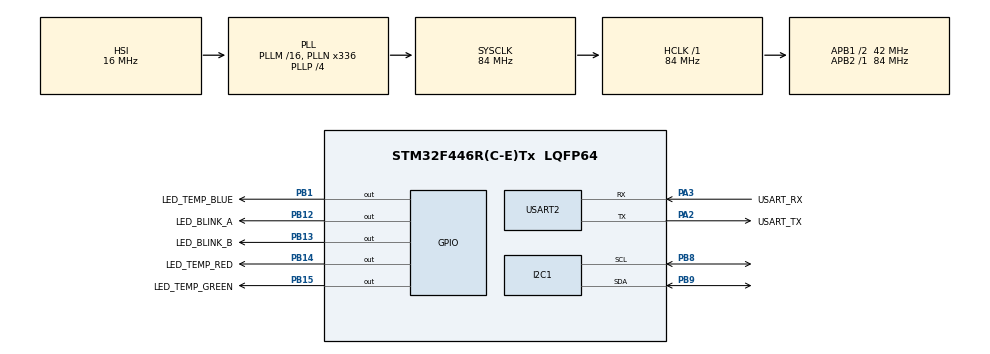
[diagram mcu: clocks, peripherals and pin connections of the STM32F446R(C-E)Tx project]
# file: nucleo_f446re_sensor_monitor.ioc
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ADC1.Channel-0\#ChannelRegularConversion=ADC_CHANNEL_TEMPSENSOR
ADC1.DMAContinuousRequests=ENABLE
ADC1.ExternalTrigConv=ADC_EXTERNALTRIGCONV_T2_TRGO
ADC1.NbrOfConversionFlag=1
ADC1.Rank-0\#ChannelRegularConversion=1
ADC1.SamplingTime-0\#ChannelRegularConversion=ADC_SAMPLETIME_480CYCLES
ADC1.master=1
Dma.ADC1.2.Direction=DMA_PERIPH_TO_MEMORY
Dma.ADC1.2.FIFOMode=DMA_FIFOMODE_DISABLE
Dma.ADC1.2.Instance=DMA2_Stream0
Dma.ADC1.2.MemDataAlignment=DMA_MDATAALIGN_HALFWORD
Dma.ADC1.2.MemInc=DMA_MINC_ENABLE
Dma.ADC1.2.Mode=DMA_CIRCULAR
Dma.ADC1.2.PeriphDataAlignment=DMA_PDATAALIGN_HALFWORD
Dma.ADC1.2.PeriphInc=DMA_PINC_DISABLE
Dma.ADC1.2.Priority=DMA_PRIORITY_LOW
Dma.Request0=USART2_RX
Dma.Request1=USART2_TX
Dma.Request2=ADC1
Dma.USART2_RX.0.Direction=DMA_PERIPH_TO_MEMORY
Dma.USART2_RX.0.FIFOMode=DMA_FIFOMODE_DISABLE
Dma.USART2_RX.0.Instance=DMA1_Stream5
Dma.USART2_RX.0.MemDataAlignment=DMA_MDATAALIGN_BYTE
Dma.USART2_RX.0.MemInc=DMA_MINC_ENABLE
Dma.USART2_RX.0.Mode=DMA_CIRCULAR
Dma.USART2_RX.0.PeriphDataAlignment=DMA_PDATAALIGN_BYTE
Dma.USART2_RX.0.PeriphInc=DMA_PINC_DISABLE
Dma.USART2_RX.0.Priority=DMA_PRIORITY_LOW
Dma.USART2_TX.1.Direction=DMA_MEMORY_TO_PERIPH
Dma.USART2_TX.1.FIFOMode=DMA_FIFOMODE_DISABLE
Dma.USART2_TX.1.Instance=DMA1_Stream6
Dma.USART2_TX.1.MemDataAlignment=DMA_MDATAALIGN_BYTE
Dma.USART2_TX.1.MemInc=DMA_MINC_ENABLE
Dma.USART2_TX.1.Mode=DMA_NORMAL
Dma.USART2_TX.1.PeriphDataAlignment=DMA_PDATAALIGN_BYTE
Dma.USART2_TX.1.PeriphInc=DMA_PINC_DISABLE
Dma.USART2_TX.1.Priority=DMA_PRIORITY_LOW
FREERTOS.Mutexes01=sensorMutex,Dynamic,NULL,Available;mcp9808Mutex,Dynamic,NULL,Available
FREERTOS.Queues01=uartRxQueue,128,uint8_t,0,Dynamic,NULL,NULL
FREERTOS.Tasks01=defaultTask,24,512,StartDefaultTask,Default,NULL,Dynamic,NULL,NULL;blinkTask,24,256,StartBlinkTask,Default,NULL,Dynamic,NULL,NULL;sensorTask,24,256,StartSensorTask,Default,NULL,Dynamic,NULL,NULL;mcp9808Task,24,256,StartMcp9808Task,Default,NULL,Dynamic,NULL,NULL;watchdogTask,32,256,StartWatchdogTask,Default,NULL,Dynamic,NULL,NULL
FREERTOS.configCHECK_FOR_STACK_OVERFLOW=2
FREERTOS.configUSE_NEWLIB_REENTRANT=1
IWDG.Prescaler=IWDG_PRESCALER_64
IWDG.Reload=2499
Mcu.Family=STM32F4
Mcu.Name=STM32F446R(C-E)Tx
Mcu.Package=LQFP64
NVIC.DMA1_Stream5_IRQn=true\:5\:0\:false\:false\:true\:true\:false\:true\:true
NVIC.DMA1_Stream6_IRQn=true\:5\:0\:false\:false\:true\:true\:false\:true\:true
NVIC.DMA2_Stream0_IRQn=true\:5\:0\:false\:false\:true\:true\:false\:true\:true
NVIC.PriorityGroup=NVIC_PRIORITYGROUP_4
NVIC.TIM6_DAC_IRQn=true\:15\:0\:false\:false\:true\:false\:false\:true\:true
NVIC.TimeBase=TIM6_DAC_IRQn
NVIC.TimeBaseIP=TIM6
NVIC.USART2_IRQn=true\:5\:0\:false\:false\:true\:true\:true\:true\:true
PA13.GPIO_Label=TMS
PA13.Mode=Serial_Wire
PA13.Signal=SYS_JTMS-SWDIO
PA14.GPIO_Label=TCK
PA14.Mode=Serial_Wire
PA14.Signal=SYS_JTCK-SWCLK
PA2.GPIO_Label=USART_TX
PA2.Mode=Asynchronous
PA2.Signal=USART2_TX
PA3.GPIO_Label=USART_RX
PA3.Mode=Asynchronous
PA3.Signal=USART2_RX
PB1.GPIO_Label=LED_TEMP_BLUE
PB1.Signal=GPIO_Output
PB12.GPIO_Label=LED_BLINK_A
PB12.Signal=GPIO_Output
PB13.GPIO_Label=LED_BLINK_B
PB13.Signal=GPIO_Output
PB14.GPIO_Label=LED_TEMP_RED
PB14.Signal=GPIO_Output
PB15.GPIO_Label=LED_TEMP_GREEN
PB15.Signal=GPIO_Output
PB3.GPIO_Label=SWO
PB3.Signal=SYS_JTDO-SWO
PB8.Mode=I2C
PB8.Signal=I2C1_SCL
PB9.Mode=I2C
PB9.Signal=I2C1_SDA
PC14-OSC32_IN.Signal=RCC_OSC32_IN
PC15-OSC32_OUT.Signal=RCC_OSC32_OUT
PH0-OSC_IN.Signal=RCC_OSC_IN
PH1-OSC_OUT.Signal=RCC_OSC_OUT
ProjectManager.HeapSize=0x200
ProjectManager.StackSize=0x400
ProjectManager.TargetToolchain=STM32CubeIDE
RCC.AHBFreq_Value=84000000
RCC.APB1CLKDivider=RCC_HCLK_DIV2
RCC.APB1Freq_Value=42000000
RCC.APB1TimFreq_Value=84000000
RCC.APB2Freq_Value=84000000
RCC.APB2TimFreq_Value=84000000
RCC.CortexFreq_Value=84000000
RCC.FLatency-AdvancedSettings=FLASH_LATENCY_2
RCC.HCLKFreq_Value=84000000
RCC.HSE_VALUE=8000000
RCC.HSI_VALUE=16000000
RCC.LSE_VALUE=32768
RCC.PLLN=336
RCC.PLLP=RCC_PLLP_DIV4
RCC.SYSCLKFreq_VALUE=84000000
RCC.SYSCLKSource=RCC_SYSCLKSOURCE_PLLCLK
RCC.USBFreq_Value=168000000
RCC.VCOOutputFreq_Value=336000000
TIM2.Period=999
TIM2.Prescaler=8399
TIM2.TIM_MasterOutputTrigger=TIM_TRGO_UPDATE
USART2.VirtualMode=VM_ASYNC
VP_ADC1_TempSens_Input.Mode=IN-TempSens
VP_FREERTOS_VS_CMSIS_V2.Mode=CMSIS_V2
VP_IWDG_VS_IWDG.Mode=IWDG_Activate
VP_SYS_VS_tim6.Mode=TIM6
VP_TIM2_VS_ClockSourceINT.Mode=Internal
board=NUCLEO-F446RE

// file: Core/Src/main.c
/* USER CODE BEGIN Header */
/**
  ******************************************************************************
  * @file           : main.c
  * @brief          : Main program body
  ******************************************************************************
  * @attention
  *
  * Copyright (c) 2026 STMicroelectronics.
  * All rights reserved.
  *
  * This software is licensed under terms that can be found in the LICENSE file
  * in the root directory of this software component.
  * If no LICENSE file comes with this software, it is provided AS-IS.
  *
  ******************************************************************************
  */
/* USER CODE END Header */
#include "main.h"
#include "cmsis_os.h"
#include <stdio.h>

/* USER CODE BEGIN Includes */

#include "app_uart.h"
#include "app_cmd.h"
#include "app_led.h"
#include "app_sensor.h"
#include "app_config.h"
#include "app_mcp9808.h"
#include "app_reset.h"
#include "app_watchdog.h"

/* USER CODE END Includes */

/* USER CODE BEGIN PD */

#define UART_READ_WAIT_MS 1000u

/* USER CODE END PD */

ADC_HandleTypeDef hadc1;
DMA_HandleTypeDef hdma_adc1;

I2C_HandleTypeDef hi2c1;

IWDG_HandleTypeDef hiwdg;

TIM_HandleTypeDef htim2;

UART_HandleTypeDef huart2;
DMA_HandleTypeDef hdma_usart2_rx;
DMA_HandleTypeDef hdma_usart2_tx;

/* Definitions for defaultTask */
osThreadId_t defaultTaskHandle;
const osThreadAttr_t defaultTask_attributes = {
  .name = "defaultTask",
  .stack_size = 512 * 4,
  .priority = (osPriority_t) osPriorityNormal,
};
/* Definitions for blinkTask */
osThreadId_t blinkTaskHandle;
const osThreadAttr_t blinkTask_attributes = {
  .name = "blinkTask",
  .stack_size = 256 * 4,
  .priority = (osPriority_t) osPriorityNormal,
};
/* Definitions for sensorTask */
osThreadId_t sensorTaskHandle;
const osThreadAttr_t sensorTask_attributes = {
  .name = "sensorTask",
  .stack_size = 256 * 4,
  .priority = (osPriority_t) osPriorityNormal,
};
/* Definitions for mcp9808Task */
osThreadId_t mcp9808TaskHandle;
const osThreadAttr_t mcp9808Task_attributes = {
  .name = "mcp9808Task",
  .stack_size = 256 * 4,
  .priority = (osPriority_t) osPriorityNormal,
};
/* Definitions for watchdogTask */
osThreadId_t watchdogTaskHandle;
const osThreadAttr_t watchdogTask_attributes = {
  .name = "watchdogTask",
  .stack_size = 256 * 4,
  .priority = (osPriority_t) osPriorityAboveNormal,
};
/* Definitions for uartRxQueue */
osMessageQueueId_t uartRxQueueHandle;
const osMessageQueueAttr_t uartRxQueue_attributes = {
  .name = "uartRxQueue"
};
/* Definitions for sensorMutex */
osMutexId_t sensorMutexHandle;
const osMutexAttr_t sensorMutex_attributes = {
  .name = "sensorMutex"
};
/* Definitions for mcp9808Mutex */
osMutexId_t mcp9808MutexHandle;
const osMutexAttr_t mcp9808Mutex_attributes = {
  .name = "mcp9808Mutex"
};

void SystemClock_Config(void);
static void MX_GPIO_Init(void);
static void MX_DMA_Init(void);
static void MX_USART2_UART_Init(void);
static void MX_ADC1_Init(void);
static void MX_TIM2_Init(void);
static void MX_I2C1_Init(void);
static void MX_IWDG_Init(void);
void StartDefaultTask(void *argument);
void StartBlinkTask(void *argument);
void StartSensorTask(void *argument);
void StartMcp9808Task(void *argument);
void StartWatchdogTask(void *argument);

/* USER CODE BEGIN PFP */

#if APP_TEMP_LED_SELFTEST
static void app_temp_led_selftest(void);
#endif

/* USER CODE END PFP */

int main(void)
{

  /* MCU Configuration--------------------------------------------------------*/

  /* Reset of all peripherals, Initializes the Flash interface and the Systick. */
  HAL_Init();

  /* Configure the system clock */
  SystemClock_Config();

  /* USER CODE BEGIN SysInit */

  __HAL_DBGMCU_FREEZE_IWDG();

  /* USER CODE END SysInit */

  /* Initialize all configured peripherals */
  MX_GPIO_Init();
  MX_DMA_Init();
  MX_USART2_UART_Init();
  MX_ADC1_Init();
  MX_TIM2_Init();
  MX_I2C1_Init();
  MX_IWDG_Init();
  /* USER CODE BEGIN 2 */

  app_uart_init(&huart2);
  app_reset_capture();
  app_watchdog_init(&hiwdg);

  char msg[32];
  (void)snprintf(msg, sizeof(msg), "\r\nReset= %s", app_reset_cause_to_string(app_reset_get_cause()));

  app_uart_send_text(msg);
  app_uart_send_text("\r\nUART Command Ready\r\n");
  #if APP_TEMP_LED_SELFTEST
  app_temp_led_selftest();
  #endif

  /* USER CODE END 2 */

  /* Init scheduler */
  osKernelInitialize();
  /* Create the mutex(es) */
  /* creation of sensorMutex */
  sensorMutexHandle = osMutexNew(&sensorMutex_attributes);

  /* creation of mcp9808Mutex */
  mcp9808MutexHandle = osMutexNew(&mcp9808Mutex_attributes);

  /* USER CODE BEGIN RTOS_MUTEX */
  /* add mutexes, ... */

  app_sensor_init(&hadc1, &htim2);
  app_mcp9808_init(&hi2c1);

  /* USER CODE END RTOS_MUTEX */

  /* Create the queue(s) */
  /* creation of uartRxQueue */
  uartRxQueueHandle = osMessageQueueNew (128, sizeof(uint8_t), &uartRxQueue_attributes);

  /* USER CODE BEGIN RTOS_QUEUES */
  /* add queues, ... */
  app_led_init();

  /* USER CODE END RTOS_QUEUES */

  /* Create the thread(s) */
  /* creation of defaultTask */
  defaultTaskHandle = osThreadNew(StartDefaultTask, NULL, &defaultTask_attributes);

  /* creation of blinkTask */
  blinkTaskHandle = osThreadNew(StartBlinkTask, NULL, &blinkTask_attributes);

  /* creation of sensorTask */
  sensorTaskHandle = osThreadNew(StartSensorTask, NULL, &sensorTask_attributes);

  /* creation of mcp9808Task */
  mcp9808TaskHandle = osThreadNew(StartMcp9808Task, NULL, &mcp9808Task_attributes);

  /* creation of watchdogTask */
  watchdogTaskHandle = osThreadNew(StartWatchdogTask, NULL, &watchdogTask_attributes);

  /* USER CODE BEGIN RTOS_EVENTS */
  /* add events, ... */

  app_config_values_t values = {0};
  app_config_values_t defaults;

  app_config_get_defaults(&defaults);

  if (app_config_read(&values)) {
	  app_uart_send_text("CONFIG: Load From Flash.\r\n> ");
  }
  else {
	  values = defaults;
	  app_uart_send_text("CONFIG: Using Defaults.\r\n> ");
  }

  if (!app_sensor_set_period(values.sample_ms)) {
	  app_uart_send_text("CONFIG: sample invalid, using default.\r\n> ");
	  app_sensor_set_period(defaults.sample_ms);
  }

  if (!app_led_request((app_led_mode_t)values.led_mode, values.blink_ms)) {
	  app_uart_send_text("CONFIG: LED invalid, using default.\r\n> ");
	  app_led_request((app_led_mode_t)defaults.led_mode, defaults.blink_ms);
  }

  /* USER CODE END RTOS_EVENTS */

  /* Start scheduler */
  osKernelStart();

  /* We should never get here as control is now taken by the scheduler */

  /* Infinite loop */
  while (1)
  {

  }
}

void SystemClock_Config(void)
{
  RCC_OscInitTypeDef RCC_OscInitStruct = {0};
  RCC_ClkInitTypeDef RCC_ClkInitStruct = {0};

  /** Configure the main internal regulator output voltage
  */
  __HAL_RCC_PWR_CLK_ENABLE();
  __HAL_PWR_VOLTAGESCALING_CONFIG(PWR_REGULATOR_VOLTAGE_SCALE3);

  /** Initializes the RCC Oscillators according to the specified parameters
  * in the RCC_OscInitTypeDef structure.
  */
  RCC_OscInitStruct.OscillatorType = RCC_OSCILLATORTYPE_HSI|RCC_OSCILLATORTYPE_LSI;
  RCC_OscInitStruct.HSIState = RCC_HSI_ON;
  RCC_OscInitStruct.HSICalibrationValue = RCC_HSICALIBRATION_DEFAULT;
  RCC_OscInitStruct.LSIState = RCC_LSI_ON;
  RCC_OscInitStruct.PLL.PLLState = RCC_PLL_ON;
  RCC_OscInitStruct.PLL.PLLSource = RCC_PLLSOURCE_HSI;
  RCC_OscInitStruct.PLL.PLLM = 16;
  RCC_OscInitStruct.PLL.PLLN = 336;
  RCC_OscInitStruct.PLL.PLLP = RCC_PLLP_DIV4;
  RCC_OscInitStruct.PLL.PLLQ = 2;
  RCC_OscInitStruct.PLL.PLLR = 2;
  if (HAL_RCC_OscConfig(&RCC_OscInitStruct) != HAL_OK)
  {
    Error_Handler();
  }

  /** Initializes the CPU, AHB and APB buses clocks
  */
  RCC_ClkInitStruct.ClockType = RCC_CLOCKTYPE_HCLK|RCC_CLOCKTYPE_SYSCLK
                              |RCC_CLOCKTYPE_PCLK1|RCC_CLOCKTYPE_PCLK2;
  RCC_ClkInitStruct.SYSCLKSource = RCC_SYSCLKSOURCE_PLLCLK;
  RCC_ClkInitStruct.AHBCLKDivider = RCC_SYSCLK_DIV1;
  RCC_ClkInitStruct.APB1CLKDivider = RCC_HCLK_DIV2;
  RCC_ClkInitStruct.APB2CLKDivider = RCC_HCLK_DIV1;

  if (HAL_RCC_ClockConfig(&RCC_ClkInitStruct, FLASH_LATENCY_2) != HAL_OK)
  {
    Error_Handler();
  }
}

static void MX_ADC1_Init(void)
{

  ADC_ChannelConfTypeDef sConfig = {0};

  /** Configure the global features of the ADC (Clock, Resolution, Data Alignment and number of conversion)
  */
  hadc1.Instance = ADC1;
  hadc1.Init.ClockPrescaler = ADC_CLOCK_SYNC_PCLK_DIV4;
  hadc1.Init.Resolution = ADC_RESOLUTION_12B;
  hadc1.Init.ScanConvMode = DISABLE;
  hadc1.Init.ContinuousConvMode = DISABLE;
  hadc1.Init.DiscontinuousConvMode = DISABLE;
  hadc1.Init.ExternalTrigConvEdge = ADC_EXTERNALTRIGCONVEDGE_RISING;
  hadc1.Init.ExternalTrigConv = ADC_EXTERNALTRIGCONV_T2_TRGO;
  hadc1.Init.DataAlign = ADC_DATAALIGN_RIGHT;
  hadc1.Init.NbrOfConversion = 1;
  hadc1.Init.DMAContinuousRequests = ENABLE;
  hadc1.Init.EOCSelection = ADC_EOC_SINGLE_CONV;
  if (HAL_ADC_Init(&hadc1) != HAL_OK)
  {
    Error_Handler();
  }

  /** Configure for the selected ADC regular channel its corresponding rank in the sequencer and its sample time.
  */
  sConfig.Channel = ADC_CHANNEL_TEMPSENSOR;
  sConfig.Rank = 1;
  sConfig.SamplingTime = ADC_SAMPLETIME_480CYCLES;
  if (HAL_ADC_ConfigChannel(&hadc1, &sConfig) != HAL_OK)
  {
    Error_Handler();
  }

}

static void MX_I2C1_Init(void)
{

  hi2c1.Instance = I2C1;
  hi2c1.Init.ClockSpeed = 100000;
  hi2c1.Init.DutyCycle = I2C_DUTYCYCLE_2;
  hi2c1.Init.OwnAddress1 = 0;
  hi2c1.Init.AddressingMode = I2C_ADDRESSINGMODE_7BIT;
  hi2c1.Init.DualAddressMode = I2C_DUALADDRESS_DISABLE;
  hi2c1.Init.OwnAddress2 = 0;
  hi2c1.Init.GeneralCallMode = I2C_GENERALCALL_DISABLE;
  hi2c1.Init.NoStretchMode = I2C_NOSTRETCH_DISABLE;
  if (HAL_I2C_Init(&hi2c1) != HAL_OK)
  {
    Error_Handler();
  }

}

static void MX_IWDG_Init(void)
{

  hiwdg.Instance = IWDG;
  hiwdg.Init.Prescaler = IWDG_PRESCALER_64;
  hiwdg.Init.Reload = 2499;
  if (HAL_IWDG_Init(&hiwdg) != HAL_OK)
  {
    Error_Handler();
  }

}

static void MX_TIM2_Init(void)
{

  TIM_ClockConfigTypeDef sClockSourceConfig = {0};
  TIM_MasterConfigTypeDef sMasterConfig = {0};

  htim2.Instance = TIM2;
  htim2.Init.Prescaler = 8399;
  htim2.Init.CounterMode = TIM_COUNTERMODE_UP;
  htim2.Init.Period = 999;
  htim2.Init.ClockDivision = TIM_CLOCKDIVISION_DIV1;
  htim2.Init.AutoReloadPreload = TIM_AUTORELOAD_PRELOAD_DISABLE;
  if (HAL_TIM_Base_Init(&htim2) != HAL_OK)
  {
    Error_Handler();
  }
  sClockSourceConfig.ClockSource = TIM_CLOCKSOURCE_INTERNAL;
  if (HAL_TIM_ConfigClockSource(&htim2, &sClockSourceConfig) != HAL_OK)
  {
    Error_Handler();
  }
  sMasterConfig.MasterOutputTrigger = TIM_TRGO_UPDATE;
  sMasterConfig.MasterSlaveMode = TIM_MASTERSLAVEMODE_DISABLE;
  if (HAL_TIMEx_MasterConfigSynchronization(&htim2, &sMasterConfig) != HAL_OK)
  {
    Error_Handler();
  }

}

static void MX_USART2_UART_Init(void)
{

  huart2.Instance = USART2;
  huart2.Init.BaudRate = 115200;
  huart2.Init.WordLength = UART_WORDLENGTH_8B;
  huart2.Init.StopBits = UART_STOPBITS_1;
  huart2.Init.Parity = UART_PARITY_NONE;
  huart2.Init.Mode = UART_MODE_TX_RX;
  huart2.Init.HwFlowCtl = UART_HWCONTROL_NONE;
  huart2.Init.OverSampling = UART_OVERSAMPLING_16;
  if (HAL_UART_Init(&huart2) != HAL_OK)
  {
    Error_Handler();
  }

}

static void MX_DMA_Init(void)
{

  /* DMA controller clock enable */
  __HAL_RCC_DMA1_CLK_ENABLE();
  __HAL_RCC_DMA2_CLK_ENABLE();

  /* DMA interrupt init */
  /* DMA1_Stream5_IRQn interrupt configuration */
  HAL_NVIC_SetPriority(DMA1_Stream5_IRQn, 5, 0);
  HAL_NVIC_EnableIRQ(DMA1_Stream5_IRQn);
  /* DMA1_Stream6_IRQn interrupt configuration */
  HAL_NVIC_SetPriority(DMA1_Stream6_IRQn, 5, 0);
  HAL_NVIC_EnableIRQ(DMA1_Stream6_IRQn);
  /* DMA2_Stream0_IRQn interrupt configuration */
  HAL_NVIC_SetPriority(DMA2_Stream0_IRQn, 5, 0);
  HAL_NVIC_EnableIRQ(DMA2_Stream0_IRQn);

}

static void MX_GPIO_Init(void)
{
  GPIO_InitTypeDef GPIO_InitStruct = {0};

  /* GPIO Ports Clock Enable */
  __HAL_RCC_GPIOC_CLK_ENABLE();
  __HAL_RCC_GPIOH_CLK_ENABLE();
  __HAL_RCC_GPIOA_CLK_ENABLE();
  __HAL_RCC_GPIOB_CLK_ENABLE();

  /*Configure GPIO pin Output Level */
  HAL_GPIO_WritePin(GPIOB, LED_TEMP_BLUE_Pin|LED_BLINK_A_Pin|LED_BLINK_B_Pin|LED_TEMP_RED_Pin
                          |LED_TEMP_GREEN_Pin, GPIO_PIN_RESET);

  /*Configure GPIO pins : LED_TEMP_BLUE_Pin LED_BLINK_A_Pin LED_BLINK_B_Pin LED_TEMP_RED_Pin
                           LED_TEMP_GREEN_Pin */
  GPIO_InitStruct.Pin = LED_TEMP_BLUE_Pin|LED_BLINK_A_Pin|LED_BLINK_B_Pin|LED_TEMP_RED_Pin
                          |LED_TEMP_GREEN_Pin;
  GPIO_InitStruct.Mode = GPIO_MODE_OUTPUT_PP;
  GPIO_InitStruct.Pull = GPIO_NOPULL;
  GPIO_InitStruct.Speed = GPIO_SPEED_FREQ_LOW;
  HAL_GPIO_Init(GPIOB, &GPIO_InitStruct);

}

void StartDefaultTask(void *argument)
{
  /* USER CODE BEGIN 5 */
  /* Infinite loop */
	uint8_t byte;
	app_uart_start_rx(uartRxQueueHandle);

	for(;;)
	{
		app_watchdog_checkin(APP_WDG_ID_DEFAULT);

		if (!app_uart_read_byte(&byte, UART_READ_WAIT_MS)) {
			continue;
		}

		if (app_uart_take_rx_overflow()) {
			app_cmd_on_rx_overflow();
		}
		app_cmd_process_byte(byte);
	}
  /* USER CODE END 5 */
}

void StartBlinkTask(void *argument)
{
  /* USER CODE BEGIN StartBlinkTask */
  /* Infinite loop */
	app_led_task();
  /* USER CODE END StartBlinkTask */
}

void StartSensorTask(void *argument)
{
  /* USER CODE BEGIN StartSensorTask */
  /* Infinite loop */
	app_sensor_task();
  /* USER CODE END StartSensorTask */
}

void StartMcp9808Task(void *argument)
{
  /* USER CODE BEGIN StartMcp9808Task */
  /* Infinite loop */
	app_mcp9808_task();
  /* USER CODE END StartMcp9808Task */
}

void StartWatchdogTask(void *argument)
{
  /* USER CODE BEGIN StartWatchdogTask */
  /* Infinite loop */

	app_watchdog_task();

  /* USER CODE END StartWatchdogTask */
}

void HAL_TIM_PeriodElapsedCallback(TIM_HandleTypeDef *htim)
{
  if (htim->Instance == TIM6)
  {
    HAL_IncTick();
  }
}

void Error_Handler(void)
{
  __disable_irq();
  while (1)
  {
  }
}

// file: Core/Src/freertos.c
/* USER CODE BEGIN Header */
/**
  ******************************************************************************
  * File Name          : freertos.c
  * Description        : Code for freertos applications
  ******************************************************************************
  * @attention
  *
  * Copyright (c) 2026 STMicroelectronics.
  * All rights reserved.
  *
  * This software is licensed under terms that can be found in the LICENSE file
  * in the root directory of this software component.
  * If no LICENSE file comes with this software, it is provided AS-IS.
  *
  ******************************************************************************
  */
/* USER CODE END Header */

#include "FreeRTOS.h"
#include "task.h"
#include "main.h"

/* Hook prototypes */
void vApplicationStackOverflowHook(xTaskHandle xTask, signed char *pcTaskName);

/* USER CODE BEGIN 4 */
void vApplicationStackOverflowHook(xTaskHandle xTask, signed char *pcTaskName)
{
   /* Run time stack overflow checking is performed if
   configCHECK_FOR_STACK_OVERFLOW is defined to 1 or 2. This hook function is
   called if a stack overflow is detected. */
	__disable_irq();
	while(1) {

	}
}
/* USER CODE END 4 */
